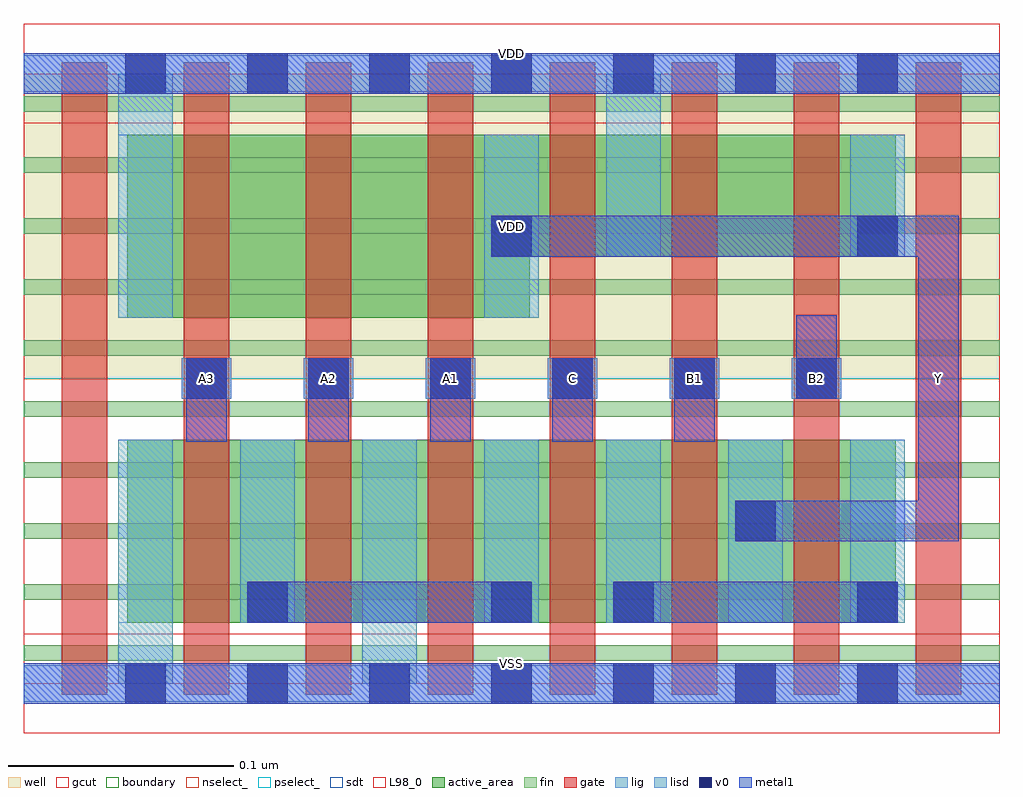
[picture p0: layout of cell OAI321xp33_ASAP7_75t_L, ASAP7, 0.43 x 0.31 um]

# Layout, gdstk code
import gdstk
lib = gdstk.Library(unit=1e-6, precision=2.5e-10)
def R(c, l, rs):  # rectangles x0, y0, x1, y1
    for r in rs: c.add(gdstk.rectangle(r[:2], r[2:], *l))
def A(c, l, x, y, w, h, nx, ny, dx, dy):  # array of equal rectangles
    R(c, l, [(x+i*dx, y+j*dy, x+i*dx+w, y+j*dy+h) for i in range(nx) for j in range(ny)])
def P(c, l, *ps):  # polygons
    for p in ps: c.add(gdstk.Polygon(p, *l))
well = (1, 0)
fin = (2, 0)
gate = (7, 0)
gcut = (10, 0)
active_area = (11, 0)
nselect_ = (12, 0)
pselect_ = (13, 0)
lig = (16, 0)
lisd = (17, 0)
v0 = (18, 0)
metal1 = (19, 0)
sdt = (88, 0)
L98_0 = (98, 0)
boundary = (100, 0)

oai321xp33_asap7_75t_l = lib.new_cell('OAI321xp33_ASAP7_75t_L')
R(oai321xp33_asap7_75t_l, well, [(0,0.135,0.432,0.27)])
A(oai321xp33_asap7_75t_l, fin, 0, 0.01, 0.432, 0.007, 1, 10, 0, 0.027)
A(oai321xp33_asap7_75t_l, gate, 0.017, -0.005, 0.02, 0.28, 8, 1, 0.054, 0)
R(oai321xp33_asap7_75t_l, gcut, [(0,-0.022,0.432,0.022), (0,0.248,0.432,0.292)])
R(oai321xp33_asap7_75t_l, active_area, [(0.046,0.027,0.386,0.108)])
P(oai321xp33_asap7_75t_l, active_area, [(0.386,0.243),(0.046,0.243),(0.046,0.162),(0.224,0.162),(0.224,0.189),(0.386,0.189)])
R(oai321xp33_asap7_75t_l, nselect_, [(0,0,0.432,0.135)])
R(oai321xp33_asap7_75t_l, pselect_, [(0,0.135,0.432,0.27)])
A(oai321xp33_asap7_75t_l, lig, 0.07, 0.126, 0.022, 0.018, 6, 1, 0.054, 0)
R(oai321xp33_asap7_75t_l, lig, [(0,-0.008,0.432,0.008), (0,0.262,0.432,0.278)])
A(oai321xp33_asap7_75t_l, lisd, 0.204, 0.027, 0.024, 0.081, 4, 1, 0.054, 0)
R(oai321xp33_asap7_75t_l, lisd, [(0.042,0,0.066,0.108), (0.042,0,0.066,0.108), (0.15,0,0.174,0.108), (0.15,0,0.174,0.108), (0.096,0.027,0.12,0.108), (0.042,0.162,0.066,0.27), (0.042,0.162,0.066,0.27), (0.204,0.162,0.228,0.243), (0.258,0.189,0.282,0.27), (0.258,0.189,0.282,0.27), (0.366,0.189,0.39,0.243)])
A(oai321xp33_asap7_75t_l, v0, 0.045, -0.009, 0.018, 0.018, 7, 2, 0.054, 0.27)
A(oai321xp33_asap7_75t_l, v0, 0.072, 0.126, 0.018, 0.018, 6, 1, 0.054, 0)
R(oai321xp33_asap7_75t_l, v0, [(0.099,0.027,0.117,0.045), (0.207,0.027,0.225,0.045), (0.261,0.027,0.279,0.045), (0.369,0.027,0.387,0.045), (0.315,0.063,0.333,0.081), (0.207,0.189,0.225,0.207), (0.369,0.189,0.387,0.207)])
A(oai321xp33_asap7_75t_l, metal1, 0.072, 0.107, 0.018, 0.037, 5, 1, 0.054, 0)
A(oai321xp33_asap7_75t_l, metal1, 0.072, 0.126, 0.018, 0.018, 6, 1, 0.054, 0)
R(oai321xp33_asap7_75t_l, metal1, [(0,-0.009,0.432,0.009), (0.099,0.027,0.117,0.045), (0.099,0.027,0.225,0.045), (0.207,0.027,0.225,0.045), (0.261,0.027,0.279,0.045), (0.261,0.027,0.387,0.045), (0.369,0.027,0.387,0.045), (0.315,0.063,0.333,0.081), (0.342,0.126,0.36,0.163), (0.207,0.189,0.225,0.207), (0.369,0.189,0.387,0.207), (0,0.261,0.432,0.279)])
P(oai321xp33_asap7_75t_l, metal1, [(0.207,0.207),(0.207,0.189),(0.396,0.189),(0.396,0.081),(0.315,0.081),(0.315,0.063),(0.414,0.063),(0.414,0.207)])
A(oai321xp33_asap7_75t_l, sdt, 0.042, 0.027, 0.024, 0.081, 3, 1, 0.054, 0)
A(oai321xp33_asap7_75t_l, sdt, 0.15, 0.027, 0.024, 0.081, 5, 1, 0.054, 0)
R(oai321xp33_asap7_75t_l, sdt, [(0.042,0.027,0.066,0.108), (0.042,0.162,0.066,0.243), (0.042,0.162,0.066,0.243), (0.204,0.162,0.228,0.243), (0.258,0.189,0.282,0.243), (0.258,0.189,0.282,0.243), (0.366,0.189,0.39,0.243)])
R(oai321xp33_asap7_75t_l, L98_0, [(0,0,0.432,0.27)])
R(oai321xp33_asap7_75t_l, boundary, [(0,0,0.432,0.27)])
oai321xp33_asap7_75t_l.add(gdstk.Label('VDD', (0.216,0.2025), layer=1, texttype=251))
oai321xp33_asap7_75t_l.add(gdstk.Label('VSS', (0.216,-0.0675), layer=3, texttype=251))
oai321xp33_asap7_75t_l.add(gdstk.Label('VSS', (0.216,0.009), layer=19, texttype=251))
oai321xp33_asap7_75t_l.add(gdstk.Label('VDD', (0.216,0.279), layer=19, texttype=251))
oai321xp33_asap7_75t_l.add(gdstk.Label('A3', (0.081,0.135), layer=19, texttype=251))
oai321xp33_asap7_75t_l.add(gdstk.Label('A2', (0.135,0.135), layer=19, texttype=251))
oai321xp33_asap7_75t_l.add(gdstk.Label('A1', (0.189,0.135), layer=19, texttype=251))
oai321xp33_asap7_75t_l.add(gdstk.Label('Y', (0.405,0.135), layer=19, texttype=251))
oai321xp33_asap7_75t_l.add(gdstk.Label('C', (0.243,0.135), layer=19, texttype=251))
oai321xp33_asap7_75t_l.add(gdstk.Label('B1', (0.297,0.135), layer=19, texttype=251))
oai321xp33_asap7_75t_l.add(gdstk.Label('B2', (0.351,0.135), layer=19, texttype=251))

lib.write_gds('OAI321xp33_ASAP7_75t_L.gds')
